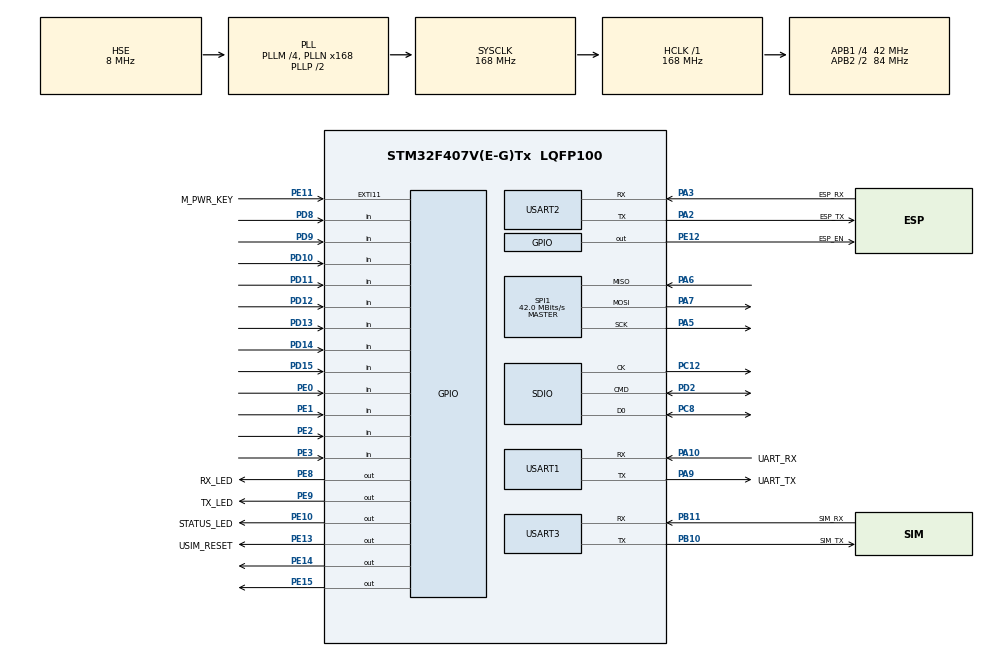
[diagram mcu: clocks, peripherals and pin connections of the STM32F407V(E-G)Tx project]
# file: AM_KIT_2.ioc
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Mcu.Family=STM32F4
Mcu.Name=STM32F407V(E-G)Tx
Mcu.Package=LQFP100
NVIC.PriorityGroup=NVIC_PRIORITYGROUP_4
NVIC.RTC_Alarm_IRQn=true\:0\:0\:false\:false\:true\:true\:true\:true
NVIC.TIM7_IRQn=true\:0\:0\:false\:false\:true\:true\:true\:true
NVIC.USART1_IRQn=true\:0\:0\:false\:false\:true\:true\:true\:true
NVIC.USART2_IRQn=true\:0\:0\:false\:false\:true\:true\:true\:true
NVIC.USART3_IRQn=true\:0\:0\:false\:false\:true\:true\:true\:true
PA10.GPIO_Label=UART_RX
PA10.Mode=Asynchronous
PA10.Signal=USART1_RX
PA13.Mode=Trace_Asynchronous_SW
PA13.Signal=SYS_JTMS-SWDIO
PA14.Mode=Trace_Asynchronous_SW
PA14.Signal=SYS_JTCK-SWCLK
PA2.GPIO_Label=ESP_TX
PA2.Mode=Asynchronous
PA2.Signal=USART2_TX
PA3.GPIO_Label=ESP_RX
PA3.Mode=Asynchronous
PA3.Signal=USART2_RX
PA5.Mode=Full_Duplex_Master
PA5.Signal=SPI1_SCK
PA6.Mode=Full_Duplex_Master
PA6.Signal=SPI1_MISO
PA7.Mode=Full_Duplex_Master
PA7.Signal=SPI1_MOSI
PA9.GPIO_Label=UART_TX
PA9.Mode=Asynchronous
PA9.Signal=USART1_TX
PB10.GPIO_Label=SIM_TX
PB10.Mode=Asynchronous
PB10.Signal=USART3_TX
PB11.GPIO_Label=SIM_RX
PB11.Mode=Asynchronous
PB11.Signal=USART3_RX
PB3.Mode=Trace_Asynchronous_SW
PB3.Signal=SYS_JTDO-SWO
PC12.Mode=SD_1_bit
PC12.Signal=SDIO_CK
PC14-OSC32_IN.Mode=LSE-External-Oscillator
PC14-OSC32_IN.Signal=RCC_OSC32_IN
PC15-OSC32_OUT.Mode=LSE-External-Oscillator
PC15-OSC32_OUT.Signal=RCC_OSC32_OUT
PC8.Mode=SD_1_bit
PC8.Signal=SDIO_D0
PD10.Signal=GPIO_Input
PD11.Signal=GPIO_Input
PD12.Signal=GPIO_Input
PD13.Signal=GPIO_Input
PD14.Signal=GPIO_Input
PD15.Signal=GPIO_Input
PD2.Mode=SD_1_bit
PD2.Signal=SDIO_CMD
PD8.Signal=GPIO_Input
PD9.Signal=GPIO_Input
PE0.Signal=GPIO_Input
PE1.Signal=GPIO_Input
PE10.GPIO_Label=STATUS_LED
PE10.Signal=GPIO_Output
PE11.GPIO_Label=M_PWR_KEY
PE11.Signal=GPXTI11
PE12.GPIO_Label=ESP_EN
PE12.Signal=GPIO_Output
PE13.GPIO_Label=USIM_RESET
PE13.Signal=GPIO_Output
PE14.Signal=GPIO_Output
PE15.Signal=GPIO_Output
PE2.Signal=GPIO_Input
PE3.Signal=GPIO_Input
PE8.GPIO_Label=RX_LED
PE8.Signal=GPIO_Output
PE9.GPIO_Label=TX_LED
PE9.Signal=GPIO_Output
PH0-OSC_IN.Mode=HSE-External-Oscillator
PH0-OSC_IN.Signal=RCC_OSC_IN
PH1-OSC_OUT.Mode=HSE-External-Oscillator
PH1-OSC_OUT.Signal=RCC_OSC_OUT
ProjectManager.HeapSize=0x200
ProjectManager.StackSize=0x400
ProjectManager.TargetToolchain=STM32CubeIDE
RCC.48MHZClocksFreq_Value=48000000
RCC.AHBFreq_Value=168000000
RCC.APB1CLKDivider=RCC_HCLK_DIV4
RCC.APB1Freq_Value=42000000
RCC.APB1TimFreq_Value=84000000
RCC.APB2CLKDivider=RCC_HCLK_DIV2
RCC.APB2Freq_Value=84000000
RCC.APB2TimFreq_Value=168000000
RCC.CortexFreq_Value=168000000
RCC.HCLKFreq_Value=168000000
RCC.HSE_VALUE=8000000
RCC.HSI_VALUE=16000000
RCC.PLLM=4
RCC.PLLN=168
RCC.PLLQ=7
RCC.PLLSourceVirtual=RCC_PLLSOURCE_HSE
RCC.RCC_RTC_Clock_Source=RCC_RTCCLKSOURCE_LSE
RCC.RCC_RTC_Clock_SourceVirtual=RCC_RTCCLKSOURCE_LSE
RCC.SYSCLKFreq_VALUE=168000000
RCC.SYSCLKSource=RCC_SYSCLKSOURCE_PLLCLK
RCC.VCOOutputFreq_Value=336000000
RTC.Alarm=RTC_ALARM_A
SPI1.CalculateBaudRate=42.0 MBits/s
SPI1.Direction=SPI_DIRECTION_2LINES
SPI1.Mode=SPI_MODE_MASTER
SPI1.VirtualType=VM_MASTER
TIM7.Period=840-1
TIM7.Prescaler=100-1
USART1.VirtualMode=VM_ASYNC
USART2.VirtualMode=VM_ASYNC
USART3.VirtualMode=VM_ASYNC
VP_FATFS_VS_SDIO.Mode=SDIO
VP_RTC_VS_RTC_Activate.Mode=RTC_Enabled
VP_RTC_VS_RTC_Alarm_A_Intern.Mode=Alarm A
VP_RTC_VS_RTC_Calendar.Mode=RTC_Calendar
VP_TIM7_VS_ClockSourceINT.Mode=Enable_Timer
board=custom

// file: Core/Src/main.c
/* USER CODE BEGIN Header */
/**
  ******************************************************************************
  * @file           : main.c
  * @brief          : Main program body
  ******************************************************************************
  * @attention
  *
  * Copyright (c) 2025 STMicroelectronics.
  * All rights reserved.
  *
  * This software is licensed under terms that can be found in the LICENSE file
  * in the root directory of this software component.
  * If no LICENSE file comes with this software, it is provided AS-IS.
  *
  ******************************************************************************
  */
/* USER CODE END Header */
#include "main.h"
#include "fatfs.h"

/* USER CODE BEGIN Includes */

#include <stdio.h>
#include <string.h>

/* USER CODE END Includes */

/* USER CODE BEGIN PD */

#define RTC_MAGIC_REG   RTC_BKP_DR1     // RTC 백업 레지스터 1번 사용
#define RTC_MAGIC_VALUE 0x32F2          // RTC 초기화 확인을 위한 매직 넘버

/* USER CODE END PD */

RTC_HandleTypeDef hrtc;

SD_HandleTypeDef hsd;

SPI_HandleTypeDef hspi1;

TIM_HandleTypeDef htim7;

UART_HandleTypeDef huart1;
UART_HandleTypeDef huart2;
UART_HandleTypeDef huart3;

/* USER CODE BEGIN PV */

static uint16_t ms_tick_1       = 0;                // 1 ms 카운터
static uint16_t alive_counter   = 0;                // 10 s 생존 메시지 카운터

uint8_t txBuf[]                 = "Hello from STM32 IRQ!\r\n";
uint8_t rxByte;                                     // 1 바이트 UART RX 버퍼
uint8_t txAlive[]               = "ALIVE\n";        // 10 s 마다 보낼 메시지

RTC_TimeTypeDef g_Time;                             // RTC 시간 구조체
RTC_DateTypeDef g_Date;                             // RTC 날짜 구조체

/* USER CODE END PV */

void SystemClock_Config(void);
static void MX_GPIO_Init(void);
static void MX_TIM7_Init(void);
static void MX_SDIO_SD_Init(void);
static void MX_USART1_UART_Init(void);
static void MX_USART2_UART_Init(void);
static void MX_USART3_UART_Init(void);
static void MX_RTC_Init(void);
static void MX_SPI1_Init(void);

int main(void)
{

  /* USER CODE BEGIN 1 */

  // =======================================================================================================
  //    __  __            _____  _   _
  //   |  \/  |    /\    |_   _|| \ | |
  //   | \  / |   /  \     | |  |  \| |
  //   | |\/| |  / /\ \    | |  | . ` |
  //   | |  | | / ____ \  _| |_ | |\  |
  //   |_|  |_|/_/    \_\|_____||_| \_|
  //
  //
  // =======================================================================================================

  /* USER CODE END 1 */

  /* MCU Configuration--------------------------------------------------------*/

  /* Reset of all peripherals, Initializes the Flash interface and the Systick. */
  HAL_Init();

  /* Configure the system clock */
  SystemClock_Config();

  /* Initialize all configured peripherals */
  MX_GPIO_Init();
  MX_TIM7_Init();
  MX_SDIO_SD_Init();
  MX_FATFS_Init();
  MX_USART1_UART_Init();
  MX_USART2_UART_Init();
  MX_USART3_UART_Init();
  MX_RTC_Init();
  MX_SPI1_Init();
  /* USER CODE BEGIN 2 */

  // 타이머 인터럽트 모드로 시작 (TIM7은 이미 PSC/ARR로 1 kHz, 1 ms 인터럽트로 설정되어 있다고 가정)
  if (HAL_TIM_Base_Start_IT(&htim7) != HAL_OK)
  {
    Error_Handler();
  }

  // 1) 콜백 기반 수신을 시작 (1바이트)
  if (HAL_UART_Receive_IT(&huart1, &rxByte, 1) != HAL_OK)
  {
    // 수신 시작 실패 처리
    Error_Handler();
  }

  FATFS SDFatFS;  // SD 카드 FATFS
  FIL SDFile;     // SD 카드 파일 핸들
  FRESULT fres;   // FATFS 함수 결과
  UINT bw, br;    // 바이트 쓰기/읽기 변수

  /* 1) SD 카드 마운트 (SDPath는 fatfs.c 에 extern으로 선언됨) */
  fres = f_mount(&SDFatFS, SDPath, 1);    // SDPath는 "0:"으로 설정되어 있어야 함
  if (fres != FR_OK)
  {
    // 마운트 실패 처리
    Error_Handler();
  }

  /* 2) 새 파일 생성(덮어쓰기) */
  fres = f_open(&SDFile, "test.txt", FA_CREATE_ALWAYS | FA_WRITE);
  if (fres != FR_OK)
  {
    // 파일 열기 실패 처리
    Error_Handler();
  }
  /* 3) 파일에 데이터 쓰기 */
  const char *data = "Hello, STM32 SD Card! \n test";
  fres = f_write(&SDFile, data, strlen(data), &bw);
  if (fres != FR_OK || bw < strlen(data))
  {
    // 파일 쓰기 실패 처리
    f_close(&SDFile);
    Error_Handler();
  }
  /* 4) 파일 닫기 */
  fres = f_close(&SDFile);
  if (fres != FR_OK)
  {
    // 파일 닫기 실패 처리
    Error_Handler();
  }
  /* 5) 파일 읽기 */
  fres = f_open(&SDFile, "test.txt", FA_READ);
  if (fres != FR_OK)
  {
    // 파일 열기 실패 처리
    Error_Handler();
  }
  char readBuffer[64];    // 읽기 버퍼
  fres = f_read(&SDFile, readBuffer, sizeof(readBuffer) - 1, &br);
  if (fres != FR_OK || br == 0)
  {
    // 파일 읽기 실패 처리
    f_close(&SDFile);
    Error_Handler();
  }
  readBuffer[br] = '\0'; // 문자열 종료
  /* 6) SD카드 언마운트*/
  fres = f_mount(NULL, SDPath, 1); // SDPath는 "0:"으로 설정되어 있어야 함 마운트 0, 언마운트 1
  if (fres != FR_OK)
  {
    // 언마운트 실패 처리
    Error_Handler();
  }

  /* USER CODE END 2 */

  /* Infinite loop */
  /* USER CODE BEGIN WHILE */
  while (1)
  {
//	  HAL_GPIO_WritePin(STATUS_LED_GPIO_Port, STATUS_LED_Pin, GPIO_PIN_SET);
//	  HAL_Delay(200);
//	  HAL_GPIO_WritePin(STATUS_LED_GPIO_Port, STATUS_LED_Pin, GPIO_PIN_RESET);
//	  HAL_Delay(200);
    /* USER CODE END WHILE */

  }
}

void SystemClock_Config(void)
{
  RCC_OscInitTypeDef RCC_OscInitStruct = {0};
  RCC_ClkInitTypeDef RCC_ClkInitStruct = {0};

  /** Configure the main internal regulator output voltage
  */
  __HAL_RCC_PWR_CLK_ENABLE();
  __HAL_PWR_VOLTAGESCALING_CONFIG(PWR_REGULATOR_VOLTAGE_SCALE1);

  /** Initializes the RCC Oscillators according to the specified parameters
  * in the RCC_OscInitTypeDef structure.
  */
  RCC_OscInitStruct.OscillatorType = RCC_OSCILLATORTYPE_HSE|RCC_OSCILLATORTYPE_LSE;
  RCC_OscInitStruct.HSEState = RCC_HSE_ON;
  RCC_OscInitStruct.LSEState = RCC_LSE_ON;
  RCC_OscInitStruct.PLL.PLLState = RCC_PLL_ON;
  RCC_OscInitStruct.PLL.PLLSource = RCC_PLLSOURCE_HSE;
  RCC_OscInitStruct.PLL.PLLM = 4;
  RCC_OscInitStruct.PLL.PLLN = 168;
  RCC_OscInitStruct.PLL.PLLP = RCC_PLLP_DIV2;
  RCC_OscInitStruct.PLL.PLLQ = 7;
  if (HAL_RCC_OscConfig(&RCC_OscInitStruct) != HAL_OK)
  {
    Error_Handler();
  }

  /** Initializes the CPU, AHB and APB buses clocks
  */
  RCC_ClkInitStruct.ClockType = RCC_CLOCKTYPE_HCLK|RCC_CLOCKTYPE_SYSCLK
                              |RCC_CLOCKTYPE_PCLK1|RCC_CLOCKTYPE_PCLK2;
  RCC_ClkInitStruct.SYSCLKSource = RCC_SYSCLKSOURCE_PLLCLK;
  RCC_ClkInitStruct.AHBCLKDivider = RCC_SYSCLK_DIV1;
  RCC_ClkInitStruct.APB1CLKDivider = RCC_HCLK_DIV4;
  RCC_ClkInitStruct.APB2CLKDivider = RCC_HCLK_DIV2;

  if (HAL_RCC_ClockConfig(&RCC_ClkInitStruct, FLASH_LATENCY_5) != HAL_OK)
  {
    Error_Handler();
  }
}

static void MX_RTC_Init(void)
{

  /* USER CODE BEGIN RTC_Init 0 */
  // =======================================================================================================
  //    __  __ __   __           _____  _______  _____            _____         _  _
  //   |  \/  |\ \ / /          |  __ \|__   __|/ ____|          |_   _|       (_)| |
  //   | \  / | \ V /   ______  | |__) |  | |  | |       ______    | |   _ __   _ | |_
  //   | |\/| |  > <   |______| |  _  /   | |  | |      |______|   | |  | '_ \ | || __|
  //   | |  | | / . \           | | \ \   | |  | |____            _| |_ | | | || || |_
  //   |_|  |_|/_/ \_\          |_|  \_\  |_|   \_____|          |_____||_| |_||_| \__|
  //
  //
  // =======================================================================================================

  /* USER CODE END RTC_Init 0 */

  // RTC_TimeTypeDef sTime = {0};
  // RTC_DateTypeDef sDate = {0};
  // RTC_AlarmTypeDef sAlarm = {0};

  /** Initialize RTC Only
  */
  hrtc.Instance = RTC;
  hrtc.Init.HourFormat = RTC_HOURFORMAT_24;
  hrtc.Init.AsynchPrediv = 127;
  hrtc.Init.SynchPrediv = 255;
  hrtc.Init.OutPut = RTC_OUTPUT_DISABLE;
  hrtc.Init.OutPutPolarity = RTC_OUTPUT_POLARITY_HIGH;
  hrtc.Init.OutPutType = RTC_OUTPUT_TYPE_OPENDRAIN;
  if (HAL_RTC_Init(&hrtc) != HAL_OK)
  {
    Error_Handler();
  }

  /* USER CODE BEGIN Check_RTC_BKUP */

  // RTC 백업 레지스터를 읽어 초기화 여부 확인
  if (HAL_RTCEx_BKUPRead(&hrtc, RTC_MAGIC_REG) != RTC_MAGIC_VALUE)
  {
    // RTC 백업 레지스터가 초기화되지 않았거나 값이 일치하지 않으면 RTC를 초기화
    // RTC 백업 레지스터에 초기화 마크를 기록
    HAL_RTCEx_BKUPWrite(&hrtc, RTC_MAGIC_REG, RTC_MAGIC_VALUE);

    // RTC 시간과 날짜를 초기화
    g_Time.Hours = 0x0;  // 00:00:00
    g_Time.Minutes = 0x0;
    g_Time.Seconds = 0x0;
    g_Time.DayLightSaving = RTC_DAYLIGHTSAVING_NONE;
    g_Time.StoreOperation = RTC_STOREOPERATION_RESET;

    if (HAL_RTC_SetTime(&hrtc, &g_Time, RTC_FORMAT_BCD) != HAL_OK)
    {
      // 초기화 실패 처리
      Error_Handler();
    }
    g_Date.WeekDay = RTC_WEEKDAY_MONDAY;    // 월요일
    g_Date.Month = RTC_MONTH_JANUARY;       // 1월
    g_Date.Date = 0x1;                      // 1일
    g_Date.Year = 0x25;                     // 2025년 (BCD 형식으로 25)

    if (HAL_RTC_SetDate(&hrtc, &g_Date, RTC_FORMAT_BCD) != HAL_OK)
    {
      // 초기화 실패 처리
      Error_Handler();
    }

  }
  else
  {
    // RTC 백업 레지스터가 초기화되어 있으면 현재 시간과 날짜를 읽어옴
    HAL_RTC_GetTime(&hrtc, &g_Time, RTC_FORMAT_BCD);
    HAL_RTC_GetDate(&hrtc, &g_Date, RTC_FORMAT_BCD);
  }

  /* USER CODE END Check_RTC_BKUP */

  /** Initialize RTC and set the Time and Date
  */
  // sTime.Hours = 0x0;
  // sTime.Minutes = 0x0;
  // sTime.Seconds = 0x0;
  // sTime.DayLightSaving = RTC_DAYLIGHTSAVING_NONE;
  // sTime.StoreOperation = RTC_STOREOPERATION_RESET;
  // if (HAL_RTC_SetTime(&hrtc, &sTime, RTC_FORMAT_BCD) != HAL_OK)
  // {
  //   Error_Handler();
  // }
  // sDate.WeekDay = RTC_WEEKDAY_MONDAY;
  // sDate.Month = RTC_MONTH_JANUARY;
  // sDate.Date = 0x1;
  // sDate.Year = 0x0;

  // if (HAL_RTC_SetDate(&hrtc, &sDate, RTC_FORMAT_BCD) != HAL_OK)
  // {
  //   Error_Handler();
  // }

  /** Enable the Alarm A
  */
  // sAlarm.AlarmTime.Hours = 0x0;
  // sAlarm.AlarmTime.Minutes = 0x0;
  // sAlarm.AlarmTime.Seconds = 0x0;
  // sAlarm.AlarmTime.SubSeconds = 0x0;
  // sAlarm.AlarmTime.DayLightSaving = RTC_DAYLIGHTSAVING_NONE;
  // sAlarm.AlarmTime.StoreOperation = RTC_STOREOPERATION_RESET;
  // sAlarm.AlarmMask = RTC_ALARMMASK_NONE;
  // sAlarm.AlarmSubSecondMask = RTC_ALARMSUBSECONDMASK_ALL;
  // sAlarm.AlarmDateWeekDaySel = RTC_ALARMDATEWEEKDAYSEL_DATE;
  // sAlarm.AlarmDateWeekDay = 0x1;
  // sAlarm.Alarm = RTC_ALARM_A;
  // if (HAL_RTC_SetAlarm_IT(&hrtc, &sAlarm, RTC_FORMAT_BCD) != HAL_OK)
  // {
  //   Error_Handler();
  // }
  /* USER CODE BEGIN RTC_Init 2 */

  //  /** Initialize RTC and set the Time and Date
  // */
  // g_Time.Hours = 0x0;
  // g_Time.Minutes = 0x0;
  // g_Time.Seconds = 0x0;
  // g_Time.DayLightSaving = RTC_DAYLIGHTSAVING_NONE;
  // g_Time.StoreOperation = RTC_STOREOPERATION_RESET;
  // if (HAL_RTC_SetTime(&hrtc, &g_Time, RTC_FORMAT_BCD) != HAL_OK)
  // {
  //   Error_Handler();
  // }
  // g_Date.WeekDay = RTC_WEEKDAY_MONDAY;
  // g_Date.Month = RTC_MONTH_JANUARY;
  // g_Date.Date = 0x1;
  // g_Date.Year = 0x0;

  // if (HAL_RTC_SetDate(&hrtc, &g_Date, RTC_FORMAT_BCD) != HAL_OK)
  // {
  //   Error_Handler();
  // }

  /* USER CODE END RTC_Init 2 */

}

static void MX_SDIO_SD_Init(void)
{

  hsd.Instance = SDIO;
  hsd.Init.ClockEdge = SDIO_CLOCK_EDGE_RISING;
  hsd.Init.ClockBypass = SDIO_CLOCK_BYPASS_DISABLE;
  hsd.Init.ClockPowerSave = SDIO_CLOCK_POWER_SAVE_DISABLE;
  hsd.Init.BusWide = SDIO_BUS_WIDE_1B;
  hsd.Init.HardwareFlowControl = SDIO_HARDWARE_FLOW_CONTROL_DISABLE;
  hsd.Init.ClockDiv = 0;

}

static void MX_SPI1_Init(void)
{

  /* SPI1 parameter configuration*/
  hspi1.Instance = SPI1;
  hspi1.Init.Mode = SPI_MODE_MASTER;
  hspi1.Init.Direction = SPI_DIRECTION_2LINES;
  hspi1.Init.DataSize = SPI_DATASIZE_8BIT;
  hspi1.Init.CLKPolarity = SPI_POLARITY_LOW;
  hspi1.Init.CLKPhase = SPI_PHASE_1EDGE;
  hspi1.Init.NSS = SPI_NSS_SOFT;
  hspi1.Init.BaudRatePrescaler = SPI_BAUDRATEPRESCALER_2;
  hspi1.Init.FirstBit = SPI_FIRSTBIT_MSB;
  hspi1.Init.TIMode = SPI_TIMODE_DISABLE;
  hspi1.Init.CRCCalculation = SPI_CRCCALCULATION_DISABLE;
  hspi1.Init.CRCPolynomial = 10;
  if (HAL_SPI_Init(&hspi1) != HAL_OK)
  {
    Error_Handler();
  }

}

static void MX_TIM7_Init(void)
{

  TIM_MasterConfigTypeDef sMasterConfig = {0};

  htim7.Instance = TIM7;
  htim7.Init.Prescaler = 100-1;
  htim7.Init.CounterMode = TIM_COUNTERMODE_UP;
  htim7.Init.Period = 840-1;
  htim7.Init.AutoReloadPreload = TIM_AUTORELOAD_PRELOAD_DISABLE;
  if (HAL_TIM_Base_Init(&htim7) != HAL_OK)
  {
    Error_Handler();
  }
  sMasterConfig.MasterOutputTrigger = TIM_TRGO_RESET;
  sMasterConfig.MasterSlaveMode = TIM_MASTERSLAVEMODE_DISABLE;
  if (HAL_TIMEx_MasterConfigSynchronization(&htim7, &sMasterConfig) != HAL_OK)
  {
    Error_Handler();
  }

}

static void MX_USART1_UART_Init(void)
{

  huart1.Instance = USART1;
  huart1.Init.BaudRate = 115200;
  huart1.Init.WordLength = UART_WORDLENGTH_8B;
  huart1.Init.StopBits = UART_STOPBITS_1;
  huart1.Init.Parity = UART_PARITY_NONE;
  huart1.Init.Mode = UART_MODE_TX_RX;
  huart1.Init.HwFlowCtl = UART_HWCONTROL_NONE;
  huart1.Init.OverSampling = UART_OVERSAMPLING_16;
  if (HAL_UART_Init(&huart1) != HAL_OK)
  {
    Error_Handler();
  }

}

static void MX_USART2_UART_Init(void)
{

  huart2.Instance = USART2;
  huart2.Init.BaudRate = 115200;
  huart2.Init.WordLength = UART_WORDLENGTH_8B;
  huart2.Init.StopBits = UART_STOPBITS_1;
  huart2.Init.Parity = UART_PARITY_NONE;
  huart2.Init.Mode = UART_MODE_TX_RX;
  huart2.Init.HwFlowCtl = UART_HWCONTROL_NONE;
  huart2.Init.OverSampling = UART_OVERSAMPLING_16;
  if (HAL_UART_Init(&huart2) != HAL_OK)
  {
    Error_Handler();
  }

}

static void MX_USART3_UART_Init(void)
{

  huart3.Instance = USART3;
  huart3.Init.BaudRate = 115200;
  huart3.Init.WordLength = UART_WORDLENGTH_8B;
  huart3.Init.StopBits = UART_STOPBITS_1;
  huart3.Init.Parity = UART_PARITY_NONE;
  huart3.Init.Mode = UART_MODE_TX_RX;
  huart3.Init.HwFlowCtl = UART_HWCONTROL_NONE;
  huart3.Init.OverSampling = UART_OVERSAMPLING_16;
  if (HAL_UART_Init(&huart3) != HAL_OK)
  {
    Error_Handler();
  }

}

static void MX_GPIO_Init(void)
{
  GPIO_InitTypeDef GPIO_InitStruct = {0};

  /* GPIO Ports Clock Enable */
  __HAL_RCC_GPIOE_CLK_ENABLE();
  __HAL_RCC_GPIOC_CLK_ENABLE();
  __HAL_RCC_GPIOH_CLK_ENABLE();
  __HAL_RCC_GPIOA_CLK_ENABLE();
  __HAL_RCC_GPIOB_CLK_ENABLE();
  __HAL_RCC_GPIOD_CLK_ENABLE();

  /*Configure GPIO pin Output Level */
  HAL_GPIO_WritePin(GPIOE, RX_LED_Pin|TX_LED_Pin|STATUS_LED_Pin|ESP_EN_Pin
                          |USIM_RESET_Pin|GPIO_PIN_14|GPIO_PIN_15, GPIO_PIN_RESET);

  /*Configure GPIO pins : PE2 PE3 PE0 PE1 */
  GPIO_InitStruct.Pin = GPIO_PIN_2|GPIO_PIN_3|GPIO_PIN_0|GPIO_PIN_1;
  GPIO_InitStruct.Mode = GPIO_MODE_INPUT;
  GPIO_InitStruct.Pull = GPIO_NOPULL;
  HAL_GPIO_Init(GPIOE, &GPIO_InitStruct);

  /*Configure GPIO pins : RX_LED_Pin TX_LED_Pin STATUS_LED_Pin ESP_EN_Pin
                           USIM_RESET_Pin PE14 PE15 */
  GPIO_InitStruct.Pin = RX_LED_Pin|TX_LED_Pin|STATUS_LED_Pin|ESP_EN_Pin
                          |USIM_RESET_Pin|GPIO_PIN_14|GPIO_PIN_15;
  GPIO_InitStruct.Mode = GPIO_MODE_OUTPUT_PP;
  GPIO_InitStruct.Pull = GPIO_NOPULL;
  GPIO_InitStruct.Speed = GPIO_SPEED_FREQ_LOW;
  HAL_GPIO_Init(GPIOE, &GPIO_InitStruct);

  /*Configure GPIO pin : M_PWR_KEY_Pin */
  GPIO_InitStruct.Pin = M_PWR_KEY_Pin;
  GPIO_InitStruct.Mode = GPIO_MODE_IT_RISING;
  GPIO_InitStruct.Pull = GPIO_NOPULL;
  HAL_GPIO_Init(M_PWR_KEY_GPIO_Port, &GPIO_InitStruct);

  /*Configure GPIO pins : PD8 PD9 PD10 PD11
                           PD12 PD13 PD14 PD15 */
  GPIO_InitStruct.Pin = GPIO_PIN_8|GPIO_PIN_9|GPIO_PIN_10|GPIO_PIN_11
                          |GPIO_PIN_12|GPIO_PIN_13|GPIO_PIN_14|GPIO_PIN_15;
  GPIO_InitStruct.Mode = GPIO_MODE_INPUT;
  GPIO_InitStruct.Pull = GPIO_NOPULL;
  HAL_GPIO_Init(GPIOD, &GPIO_InitStruct);

}

/* USER CODE BEGIN 4 */

// =======================================================================================================
//    _______  _____  __  __       ______
//   |__   __||_   _||  \/  |     |____  |
//      | |     | |  | \  / | ______  / /
//      | |     | |  | |\/| ||______|/ /
//      | |    _| |_ | |  | |       / /
//      |_|   |_____||_|  |_|      /_/
//
//
// =======================================================================================================
/* tim 7 인터럽트 처리부 */
/* TIM7 업데이트 인터럽트 콜백 */
void HAL_TIM_PeriodElapsedCallback(TIM_HandleTypeDef *htim)
{
  if (htim->Instance == TIM7)
  {
    ms_tick_1++;
    alive_counter++;

    if (ms_tick_1 >= 200)         // 200 ms 경과 체크
    {
      ms_tick_1 = 0;
      // HAL_GPIO_TogglePin(STATUS_LED_GPIO_Port, STATUS_LED_Pin);
    }

    if (alive_counter >= 10000)    // 10 s 경과 체크
    {
      alive_counter = 0;

      /* 1) RTC에서 현재 시간 읽기 */
      // RTC_TimeTypeDef sTime;
      // RTC_DateTypeDef sDate;
      HAL_RTC_GetTime(&hrtc, &g_Time, RTC_FORMAT_BIN);
      HAL_RTC_GetDate(&hrtc, &g_Date, RTC_FORMAT_BIN);

      /* 2) 문자열로 포맷 */
      char buf[64];
      // int len = snprintf(buf, sizeof(buf), "ALIVE: %02d:%02d:%02d %02d/%02d/%04d\n",
      //                   sTime.Hours, sTime.Minutes, sTime.Seconds,
      //                   sDate.Date, sDate.Month, 2000 + sDate.Year);

      int len = snprintf(buf, sizeof(buf), "ALIVE: %02d.%02d / %02d:%02d:%02d\n",
                        g_Date.Month,g_Date.Date, g_Time.Hours, g_Time.Minutes, g_Time.Seconds);

      // 생존 메시지 전송
      //HAL_UART_Transmit_IT(&huart1, txAlive, sizeof(txAlive) - 1);
      //HAL_UART_Transmit_IT(&huart2, txAlive, sizeof(txAlive) - 1);
      //HAL_UART_Transmit_IT(&huart3, txAlive, sizeof(txAlive) - 1);

      /* 3) UART로 생존 및 시간 전송 */
      // UART1로 현재 시간 전송
      HAL_UART_Transmit_IT(&huart1, (uint8_t *)buf, len);
    }
  }
}

// =======================================================================================================
//    _    _           _____  _______      __
//   | |  | |   /\    |  __ \|__   __|    /_ |
//   | |  | |  /  \   | |__) |  | | ______ | |
//   | |  | | / /\ \  |  _  /   | ||______|| |
//   | |__| |/ ____ \ | | \ \   | |        | |
//    \____//_/    \_\|_|  \_\  |_|        |_|
//
//
// =======================================================================================================
/* uart 1 처리부 */
/* UART Rx Complete 콜백 */
void HAL_UART_RxCpltCallback(UART_HandleTypeDef *huart)
{
  if (huart->Instance == USART1)
  {
    // 1) 에코: 받은 바이트를 바로 송신
    HAL_UART_Transmit_IT(&huart1, &rxByte, 1);

    // 2) 다시 수신 대기
    HAL_UART_Receive_IT(&huart1, &rxByte, 1);
  }
}

/* UART 전송 완료 콜백 (필요 시..) */
void HAL_UART_TxCpltCallback(UART_HandleTypeDef *huart)
{
  // 전송 완료 후 다른 처리가 필요하면 여기에…
}

// ================================================================================
// ================================================================================

/* USER CODE END 4 */

void Error_Handler(void)
{
  __disable_irq();
  while (1)
  {
  }
}
